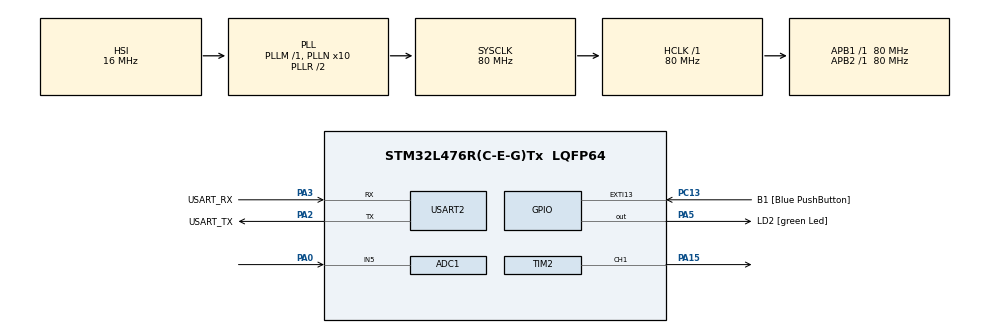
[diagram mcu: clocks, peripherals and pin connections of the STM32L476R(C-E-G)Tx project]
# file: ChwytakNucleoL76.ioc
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ADC1.Channel-1\#ChannelRegularConversion=ADC_CHANNEL_5
ADC1.ContinuousConvMode=ENABLE
ADC1.NbrOfConversionFlag=1
ADC1.OffsetNumber-1\#ChannelRegularConversion=ADC_OFFSET_NONE
ADC1.Overrun=ADC_OVR_DATA_OVERWRITTEN
ADC1.Rank-1\#ChannelRegularConversion=1
ADC1.SamplingTime-1\#ChannelRegularConversion=ADC_SAMPLETIME_2CYCLES_5
ADC1.master=1
Mcu.Family=STM32L4
Mcu.Name=STM32L476R(C-E-G)Tx
Mcu.Package=LQFP64
NVIC.PriorityGroup=NVIC_PRIORITYGROUP_4
PA0.Signal=ADCx_IN5
PA13\ (JTMS-SWDIO).GPIO_Label=TMS
PA13\ (JTMS-SWDIO).Mode=Serial_Wire
PA13\ (JTMS-SWDIO).Signal=SYS_JTMS-SWDIO
PA14\ (JTCK-SWCLK).GPIO_Label=TCK
PA14\ (JTCK-SWCLK).Mode=Serial_Wire
PA14\ (JTCK-SWCLK).Signal=SYS_JTCK-SWCLK
PA15\ (JTDI).Signal=S_TIM2_CH1
PA2.GPIO_Label=USART_TX
PA2.GPIO_Mode=GPIO_MODE_AF_PP
PA2.GPIO_PuPd=GPIO_NOPULL
PA2.GPIO_Speed=GPIO_SPEED_FREQ_VERY_HIGH
PA2.Mode=Asynchronous
PA2.Signal=USART2_TX
PA3.GPIO_Label=USART_RX
PA3.GPIO_Mode=GPIO_MODE_AF_PP
PA3.GPIO_PuPd=GPIO_NOPULL
PA3.GPIO_Speed=GPIO_SPEED_FREQ_VERY_HIGH
PA3.Mode=Asynchronous
PA3.Signal=USART2_RX
PA5.GPIO_Label=LD2 [green Led]
PA5.GPIO_ModeDefaultOutputPP=GPIO_MODE_OUTPUT_PP
PA5.GPIO_PuPd=GPIO_NOPULL
PA5.GPIO_Speed=GPIO_SPEED_FREQ_LOW
PA5.Signal=GPIO_Output
PB3\ (JTDO-TRACESWO).GPIO_Label=SWO
PB3\ (JTDO-TRACESWO).Signal=SYS_JTDO-SWO
PC13.GPIO_Label=B1 [Blue PushButton]
PC13.GPIO_ModeDefaultEXTI=GPIO_MODE_IT_FALLING
PC13.GPIO_PuPd=GPIO_NOPULL
PC13.Signal=GPXTI13
PC14-OSC32_IN\ (PC14).Mode=LSE-External-Oscillator
PC14-OSC32_IN\ (PC14).Signal=RCC_OSC32_IN
PC15-OSC32_OUT\ (PC15).Mode=LSE-External-Oscillator
PC15-OSC32_OUT\ (PC15).Signal=RCC_OSC32_OUT
PH0-OSC_IN\ (PH0).Signal=RCC_OSC_IN
PH1-OSC_OUT\ (PH1).Signal=RCC_OSC_OUT
ProjectManager.HeapSize=0x200
ProjectManager.StackSize=0x400
ProjectManager.TargetToolchain=STM32CubeIDE
RCC.ADCFreq_Value=64000000
RCC.AHBFreq_Value=80000000
RCC.APB1Freq_Value=80000000
RCC.APB1TimFreq_Value=80000000
RCC.APB2Freq_Value=80000000
RCC.APB2TimFreq_Value=80000000
RCC.CortexFreq_Value=80000000
RCC.HCLKFreq_Value=80000000
RCC.HSE_VALUE=8000000
RCC.HSI_VALUE=16000000
RCC.MSI_VALUE=4000000
RCC.PLLN=10
RCC.PLLSourceVirtual=RCC_PLLSOURCE_HSI
RCC.PREFETCH_ENABLE=1
RCC.SYSCLKFreq_VALUE=80000000
RCC.SYSCLKSource=RCC_SYSCLKSOURCE_PLLCLK
RCC.USBFreq_Value=64000000
RCC.VCOOutputFreq_Value=160000000
SH.ADCx_IN5.0=ADC1_IN5,IN5-Single-Ended
SH.S_TIM2_CH1.0=TIM2_CH1,PWM Generation1 CH1
TIM2.Channel-PWM\ Generation1\ CH1=TIM_CHANNEL_1
TIM2.Period=999
TIM2.Prescaler=1599
USART2.VirtualMode-Asynchronous=VM_ASYNC
board=NUCLEO-L476RG

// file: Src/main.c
/* USER CODE BEGIN Header */
/**
  ******************************************************************************
  * @file           : main.c
  * @brief          : Main program body
  ******************************************************************************
  * @attention
  *
  * <h2><center>&copy; Copyright (c) 2020 STMicroelectronics.
  * All rights reserved.</center></h2>
  *
  * This software component is licensed by ST under BSD 3-Clause license,
  * the "License"; You may not use this file except in compliance with the
  * License. You may obtain a copy of the License at:
  *                        opensource.org/licenses/BSD-3-Clause
  *
  ******************************************************************************
  */
/* USER CODE END Header */

#include "main.h"

/* USER CODE BEGIN Includes */
#include <stdio.h>
#include <string.h>
/* USER CODE END Includes */

/* USER CODE BEGIN PTD */

#define GRIPPER_CLOSED		25
#define GRIPPER_OPENED		100

#define ADC_THRESHOLD		1000

/* USER CODE END PTD */

ADC_HandleTypeDef hadc1;

TIM_HandleTypeDef htim2;

UART_HandleTypeDef huart2;

void SystemClock_Config(void);
static void MX_GPIO_Init(void);
static void MX_USART2_UART_Init(void);
static void MX_ADC1_Init(void);
static void MX_TIM2_Init(void);

int main(void)
{
  /* USER CODE BEGIN 1 */

	char uartbuf[200];

	int adc_value;

	int gripper_pwm = 25;

	enum gripper_state_enum {
		CLOSED	= 0,
		OPENED	= 1
	} gripper_state;

	gripper_state = OPENED;

  /* USER CODE END 1 */

  /* MCU Configuration--------------------------------------------------------*/

  /* Reset of all peripherals, Initializes the Flash interface and the Systick. */
  HAL_Init();

  /* Configure the system clock */
  SystemClock_Config();

  /* Initialize all configured peripherals */
  MX_GPIO_Init();
  MX_USART2_UART_Init();
  MX_ADC1_Init();
  MX_TIM2_Init();
  /* USER CODE BEGIN 2 */

  //HAL_ADCEx_Calibration_Start(&hadc1, ADC_SINGLE_ENDED);
  HAL_ADC_Start(&hadc1);

  HAL_TIM_Base_Start(&htim2);

  HAL_TIM_PWM_Start(&htim2, TIM_CHANNEL_1);

  HAL_TIMEx_PWMN_Start(&htim2, TIM_CHANNEL_1);

  __HAL_TIM_SET_COMPARE(&htim2, TIM_CHANNEL_1, GRIPPER_OPENED);

  HAL_Delay(800);

  /* USER CODE END 2 */

  /* Infinite loop */
  /* USER CODE BEGIN WHILE */
  while (1)
  {
	  switch(gripper_state)
	  {
	  case OPENED:
		  /* Wait for trigger signal laser break */
		  adc_value = HAL_ADC_GetValue(&hadc1);
		  if (adc_value > ADC_THRESHOLD)
		  {
			  gripper_state = CLOSED;
			  __HAL_TIM_SET_COMPARE(&htim2, TIM_CHANNEL_1, GRIPPER_CLOSED);
		  }
		  break;
	  case CLOSED:
		  /* Wait for button as trigger signal */
		  if (HAL_GPIO_ReadPin(B1_GPIO_Port, B1_Pin) == GPIO_PIN_RESET)
		  {
			  /* Wait for depushing button */
			  while (HAL_GPIO_ReadPin(B1_GPIO_Port, B1_Pin) == GPIO_PIN_RESET);
			  gripper_state = OPENED;
			  __HAL_TIM_SET_COMPARE(&htim2, TIM_CHANNEL_1, GRIPPER_OPENED);
			  /* Wait for opening */
			  HAL_Delay(800);
		  }
		  break;
	  }
	  HAL_Delay(20);
    /* USER CODE END WHILE */

  }
}

void SystemClock_Config(void)
{
  RCC_OscInitTypeDef RCC_OscInitStruct = {0};
  RCC_ClkInitTypeDef RCC_ClkInitStruct = {0};
  RCC_PeriphCLKInitTypeDef PeriphClkInit = {0};

  /** Initializes the CPU, AHB and APB busses clocks
  */
  RCC_OscInitStruct.OscillatorType = RCC_OSCILLATORTYPE_HSI;
  RCC_OscInitStruct.HSIState = RCC_HSI_ON;
  RCC_OscInitStruct.HSICalibrationValue = RCC_HSICALIBRATION_DEFAULT;
  RCC_OscInitStruct.PLL.PLLState = RCC_PLL_ON;
  RCC_OscInitStruct.PLL.PLLSource = RCC_PLLSOURCE_HSI;
  RCC_OscInitStruct.PLL.PLLM = 1;
  RCC_OscInitStruct.PLL.PLLN = 10;
  RCC_OscInitStruct.PLL.PLLP = RCC_PLLP_DIV7;
  RCC_OscInitStruct.PLL.PLLQ = RCC_PLLQ_DIV2;
  RCC_OscInitStruct.PLL.PLLR = RCC_PLLR_DIV2;
  if (HAL_RCC_OscConfig(&RCC_OscInitStruct) != HAL_OK)
  {
    Error_Handler();
  }
  /** Initializes the CPU, AHB and APB busses clocks
  */
  RCC_ClkInitStruct.ClockType = RCC_CLOCKTYPE_HCLK|RCC_CLOCKTYPE_SYSCLK
                              |RCC_CLOCKTYPE_PCLK1|RCC_CLOCKTYPE_PCLK2;
  RCC_ClkInitStruct.SYSCLKSource = RCC_SYSCLKSOURCE_PLLCLK;
  RCC_ClkInitStruct.AHBCLKDivider = RCC_SYSCLK_DIV1;
  RCC_ClkInitStruct.APB1CLKDivider = RCC_HCLK_DIV1;
  RCC_ClkInitStruct.APB2CLKDivider = RCC_HCLK_DIV1;

  if (HAL_RCC_ClockConfig(&RCC_ClkInitStruct, FLASH_LATENCY_4) != HAL_OK)
  {
    Error_Handler();
  }
  PeriphClkInit.PeriphClockSelection = RCC_PERIPHCLK_USART2|RCC_PERIPHCLK_ADC;
  PeriphClkInit.Usart2ClockSelection = RCC_USART2CLKSOURCE_PCLK1;
  PeriphClkInit.AdcClockSelection = RCC_ADCCLKSOURCE_PLLSAI1;
  PeriphClkInit.PLLSAI1.PLLSAI1Source = RCC_PLLSOURCE_HSI;
  PeriphClkInit.PLLSAI1.PLLSAI1M = 1;
  PeriphClkInit.PLLSAI1.PLLSAI1N = 8;
  PeriphClkInit.PLLSAI1.PLLSAI1P = RCC_PLLP_DIV7;
  PeriphClkInit.PLLSAI1.PLLSAI1Q = RCC_PLLQ_DIV2;
  PeriphClkInit.PLLSAI1.PLLSAI1R = RCC_PLLR_DIV2;
  PeriphClkInit.PLLSAI1.PLLSAI1ClockOut = RCC_PLLSAI1_ADC1CLK;
  if (HAL_RCCEx_PeriphCLKConfig(&PeriphClkInit) != HAL_OK)
  {
    Error_Handler();
  }
  /** Configure the main internal regulator output voltage
  */
  if (HAL_PWREx_ControlVoltageScaling(PWR_REGULATOR_VOLTAGE_SCALE1) != HAL_OK)
  {
    Error_Handler();
  }
}

static void MX_ADC1_Init(void)
{

  ADC_MultiModeTypeDef multimode = {0};
  ADC_ChannelConfTypeDef sConfig = {0};

  /** Common config
  */
  hadc1.Instance = ADC1;
  hadc1.Init.ClockPrescaler = ADC_CLOCK_ASYNC_DIV1;
  hadc1.Init.Resolution = ADC_RESOLUTION_12B;
  hadc1.Init.DataAlign = ADC_DATAALIGN_RIGHT;
  hadc1.Init.ScanConvMode = ADC_SCAN_DISABLE;
  hadc1.Init.EOCSelection = ADC_EOC_SINGLE_CONV;
  hadc1.Init.LowPowerAutoWait = DISABLE;
  hadc1.Init.ContinuousConvMode = ENABLE;
  hadc1.Init.NbrOfConversion = 1;
  hadc1.Init.DiscontinuousConvMode = DISABLE;
  hadc1.Init.ExternalTrigConv = ADC_SOFTWARE_START;
  hadc1.Init.ExternalTrigConvEdge = ADC_EXTERNALTRIGCONVEDGE_NONE;
  hadc1.Init.DMAContinuousRequests = DISABLE;
  hadc1.Init.Overrun = ADC_OVR_DATA_OVERWRITTEN;
  hadc1.Init.OversamplingMode = DISABLE;
  if (HAL_ADC_Init(&hadc1) != HAL_OK)
  {
    Error_Handler();
  }
  /** Configure the ADC multi-mode
  */
  multimode.Mode = ADC_MODE_INDEPENDENT;
  if (HAL_ADCEx_MultiModeConfigChannel(&hadc1, &multimode) != HAL_OK)
  {
    Error_Handler();
  }
  /** Configure Regular Channel
  */
  sConfig.Channel = ADC_CHANNEL_5;
  sConfig.Rank = ADC_REGULAR_RANK_1;
  sConfig.SamplingTime = ADC_SAMPLETIME_2CYCLES_5;
  sConfig.SingleDiff = ADC_SINGLE_ENDED;
  sConfig.OffsetNumber = ADC_OFFSET_NONE;
  sConfig.Offset = 0;
  if (HAL_ADC_ConfigChannel(&hadc1, &sConfig) != HAL_OK)
  {
    Error_Handler();
  }

}

static void MX_TIM2_Init(void)
{

  TIM_MasterConfigTypeDef sMasterConfig = {0};
  TIM_OC_InitTypeDef sConfigOC = {0};

  htim2.Instance = TIM2;
  htim2.Init.Prescaler = 1599;
  htim2.Init.CounterMode = TIM_COUNTERMODE_UP;
  htim2.Init.Period = 999;
  htim2.Init.ClockDivision = TIM_CLOCKDIVISION_DIV1;
  htim2.Init.AutoReloadPreload = TIM_AUTORELOAD_PRELOAD_DISABLE;
  if (HAL_TIM_PWM_Init(&htim2) != HAL_OK)
  {
    Error_Handler();
  }
  sMasterConfig.MasterOutputTrigger = TIM_TRGO_RESET;
  sMasterConfig.MasterSlaveMode = TIM_MASTERSLAVEMODE_DISABLE;
  if (HAL_TIMEx_MasterConfigSynchronization(&htim2, &sMasterConfig) != HAL_OK)
  {
    Error_Handler();
  }
  sConfigOC.OCMode = TIM_OCMODE_PWM1;
  sConfigOC.Pulse = 0;
  sConfigOC.OCPolarity = TIM_OCPOLARITY_HIGH;
  sConfigOC.OCFastMode = TIM_OCFAST_DISABLE;
  if (HAL_TIM_PWM_ConfigChannel(&htim2, &sConfigOC, TIM_CHANNEL_1) != HAL_OK)
  {
    Error_Handler();
  }
  HAL_TIM_MspPostInit(&htim2);

}

static void MX_USART2_UART_Init(void)
{

  huart2.Instance = USART2;
  huart2.Init.BaudRate = 115200;
  huart2.Init.WordLength = UART_WORDLENGTH_8B;
  huart2.Init.StopBits = UART_STOPBITS_1;
  huart2.Init.Parity = UART_PARITY_NONE;
  huart2.Init.Mode = UART_MODE_TX_RX;
  huart2.Init.HwFlowCtl = UART_HWCONTROL_NONE;
  huart2.Init.OverSampling = UART_OVERSAMPLING_16;
  huart2.Init.OneBitSampling = UART_ONE_BIT_SAMPLE_DISABLE;
  huart2.AdvancedInit.AdvFeatureInit = UART_ADVFEATURE_NO_INIT;
  if (HAL_UART_Init(&huart2) != HAL_OK)
  {
    Error_Handler();
  }

}

static void MX_GPIO_Init(void)
{
  GPIO_InitTypeDef GPIO_InitStruct = {0};

  /* GPIO Ports Clock Enable */
  __HAL_RCC_GPIOC_CLK_ENABLE();
  __HAL_RCC_GPIOH_CLK_ENABLE();
  __HAL_RCC_GPIOA_CLK_ENABLE();
  __HAL_RCC_GPIOB_CLK_ENABLE();

  /*Configure GPIO pin Output Level */
  HAL_GPIO_WritePin(LD2_GPIO_Port, LD2_Pin, GPIO_PIN_RESET);

  /*Configure GPIO pin : B1_Pin */
  GPIO_InitStruct.Pin = B1_Pin;
  GPIO_InitStruct.Mode = GPIO_MODE_IT_FALLING;
  GPIO_InitStruct.Pull = GPIO_NOPULL;
  HAL_GPIO_Init(B1_GPIO_Port, &GPIO_InitStruct);

  /*Configure GPIO pin : LD2_Pin */
  GPIO_InitStruct.Pin = LD2_Pin;
  GPIO_InitStruct.Mode = GPIO_MODE_OUTPUT_PP;
  GPIO_InitStruct.Pull = GPIO_NOPULL;
  GPIO_InitStruct.Speed = GPIO_SPEED_FREQ_LOW;
  HAL_GPIO_Init(LD2_GPIO_Port, &GPIO_InitStruct);

}

void Error_Handler(void)
{
}

/************************ (C) COPYRIGHT STMicroelectronics *****END OF FILE****/
